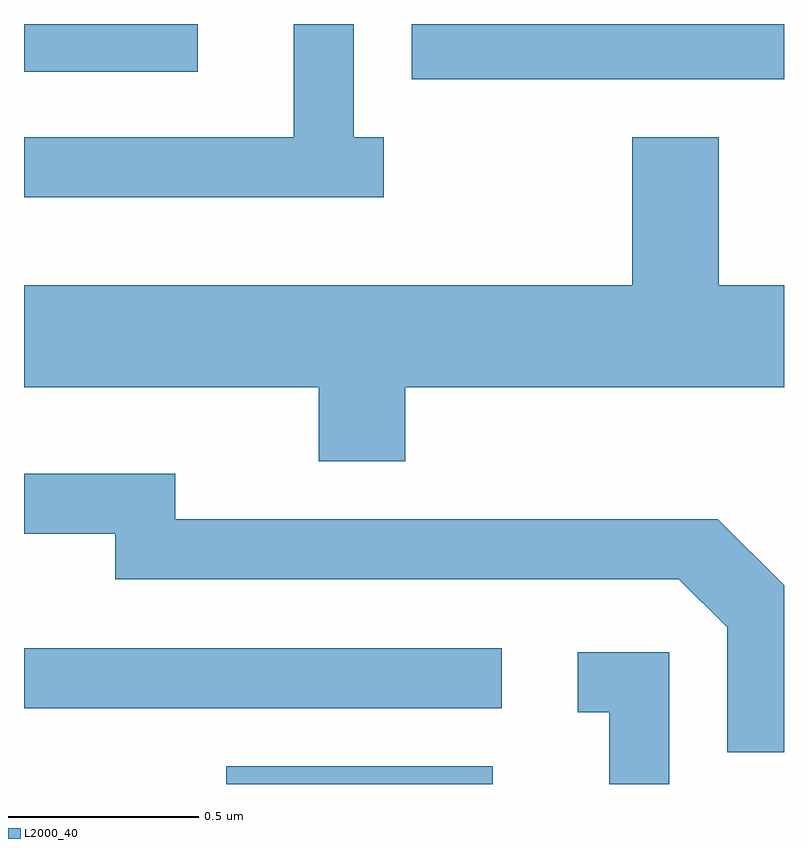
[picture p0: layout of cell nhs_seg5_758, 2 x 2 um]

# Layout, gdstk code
import gdstk
lib = gdstk.Library(unit=1e-6, precision=1e-09)
def R(c, l, rs):  # rectangles x0, y0, x1, y1
    for r in rs: c.add(gdstk.rectangle(r[:2], r[2:], *l))
def P(c, l, *ps):  # polygons
    for p in ps: c.add(gdstk.Polygon(p, *l))
L2000_40 = (2000, 40)

nhs_seg5_758 = lib.new_cell('nhs_seg5_758')
R(nhs_seg5_758, L2000_40, [(191.143,1469.072,191.844,1469.119), (190.611,1469.271,191.868,1469.429), (191.631,1470.926,192.611,1471.072), (190.611,1470.946,191.068,1471.072)])
P(nhs_seg5_758, L2000_40, [(191.558,1470.774),(191.479,1470.774),(191.479,1471.072),(191.321,1471.072),(191.321,1470.774),(190.611,1470.774),(190.611,1470.616),(191.558,1470.616)],
  [(191.614,1470.116),(192.611,1470.116),(192.611,1470.384),(192.439,1470.384),(192.439,1470.774),(192.211,1470.774),(192.211,1470.384),(190.611,1470.384),(190.611,1470.116),(191.386,1470.116),(191.386,1469.921),(191.614,1469.921)],
  [(192.611,1469.595),(192.437,1469.769),(191.009,1469.769),(191.009,1469.889),(190.611,1469.889),(190.611,1469.731),(190.851,1469.731),(190.851,1469.611),(192.334,1469.611),(192.461,1469.484),(192.461,1469.156),(192.611,1469.156)],
  [(192.309,1469.419),(192.068,1469.419),(192.068,1469.261),(192.151,1469.261),(192.151,1469.072),(192.309,1469.072)])

lib.write_gds('nhs_seg5_758.gds')
